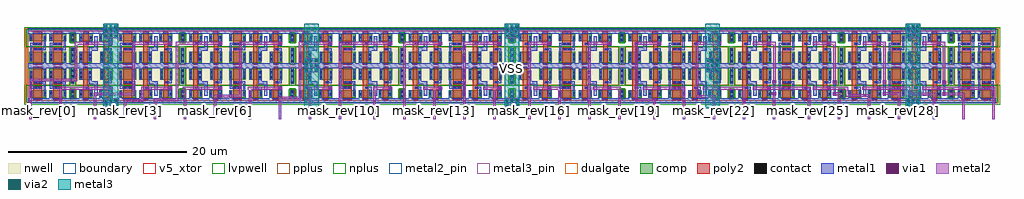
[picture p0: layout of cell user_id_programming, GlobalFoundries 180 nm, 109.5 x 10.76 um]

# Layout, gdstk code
import gdstk
lib = gdstk.Library(unit=1e-6, precision=1e-09)
def R(c, l, rs):  # rectangles x0, y0, x1, y1
    for r in rs: c.add(gdstk.rectangle(r[:2], r[2:], *l))
def A(c, l, x, y, w, h, nx, ny, dx, dy):  # array of equal rectangles
    R(c, l, [(x+i*dx, y+j*dy, x+i*dx+w, y+j*dy+h) for i in range(nx) for j in range(ny)])
def P(c, l, *ps):  # polygons
    for p in ps: c.add(gdstk.Polygon(p, *l))
boundary = (0, 0)
nwell = (21, 0)
comp = (22, 0)
poly2 = (30, 0)
pplus = (31, 0)
nplus = (32, 0)
contact = (33, 0)
metal1 = (34, 0)
via1 = (35, 0)
metal2 = (36, 0)
metal2_pin = (36, 10)
via2 = (38, 0)
metal3 = (42, 0)
metal3_pin = (42, 10)
dualgate = (55, 0)
v5_xtor = (112, 1)
lvpwell = (204, 0)

gf180mcu_fd_sc_mcu7t5v0_ = lib.new_cell('gf180mcu_fd_sc_mcu7t5v0__fillcap_4')
R(gf180mcu_fd_sc_mcu7t5v0_, boundary, [(0,0,2.24,3.92)])
R(gf180mcu_fd_sc_mcu7t5v0_, nwell, [(-0.43,1.76,2.67,4.35)])
R(gf180mcu_fd_sc_mcu7t5v0_, comp, [(0.18,0.34,2.06,1.16), (0.18,2.36,2.06,3.58)])
R(gf180mcu_fd_sc_mcu7t5v0_, poly2, [(0.62,0.12,1.62,1.62), (0.62,1.875,1.62,3.8)])
R(gf180mcu_fd_sc_mcu7t5v0_, pplus, [(-0.2,1.76,2.44,4.12)])
R(gf180mcu_fd_sc_mcu7t5v0_, nplus, [(-0.2,-0.2,2.44,1.76)])
R(gf180mcu_fd_sc_mcu7t5v0_, contact, [(0.25,0.735,0.47,0.955), (1.77,0.735,1.99,0.955), (0.765,1.33,0.985,1.55), (1.235,1.33,1.455,1.55), (0.805,1.965,1.025,2.185), (1.275,1.965,1.495,2.185), (0.25,2.59,0.47,2.81), (1.77,2.59,1.99,2.81), (0.25,3.06,0.47,3.28), (1.77,3.06,1.99,3.28)])
P(gf180mcu_fd_sc_mcu7t5v0_, metal1, [(0.245,1.325),(0.245,3.39),(0.475,3.39),(0.475,1.555),(1.52,1.555),(1.52,1.325)],
  [(1.765,0.53),(1.765,1.96),(0.73,1.96),(0.73,2.19),(1.995,2.19),(1.995,0.53)],
  [(0,-0.3),(0,0.3),(0.245,0.3),(0.245,1.095),(0.475,1.095),(0.475,0.3),(2.24,0.3),(2.24,-0.3)],
  [(1.765,2.49),(1.765,3.62),(0,3.62),(0,4.22),(2.24,4.22),(2.24,3.62),(1.995,3.62),(1.995,2.49)])
R(gf180mcu_fd_sc_mcu7t5v0_, dualgate, [(-0.28,-0.28,2.52,4.2)])
R(gf180mcu_fd_sc_mcu7t5v0_, v5_xtor, [(0,0,2.24,3.92)])
R(gf180mcu_fd_sc_mcu7t5v0_, lvpwell, [(-0.43,-0.43,2.67,1.76)])
gf180mcu_fd_sc_mcu7t5v0_.add(gdstk.Label('VDD', (1.12,3.91), layer=34, texttype=10))
gf180mcu_fd_sc_mcu7t5v0_.add(gdstk.Label('VSS', (1.12,-0.03), layer=34, texttype=10))
gf180mcu_fd_sc_mcu7t5v0_.add(gdstk.Label('& Vendor GLOBALFOUNDRIES', (0,2), layer=63, texttype=63))
gf180mcu_fd_sc_mcu7t5v0_.add(gdstk.Label('& Product GF018hv5v_mcu_sc7', (0,1.5), layer=63, texttype=63))
gf180mcu_fd_sc_mcu7t5v0_.add(gdstk.Label('& Version 2015q2v1', (0,1), layer=63, texttype=63))
gf180mcu_fd_sc_mcu7t5v0_.add(gdstk.Label('& Metric 1.00', (0,0.5), layer=63, texttype=63))

c_gf180mcu_fd_sc_mcu7t5v0_ = lib.new_cell('gf180mcu_fd_sc_mcu7t5v0__endcap')
R(c_gf180mcu_fd_sc_mcu7t5v0_, boundary, [(0,0,1.12,3.92)])
R(c_gf180mcu_fd_sc_mcu7t5v0_, nwell, [(-0.43,1.76,1.55,4.35)])
R(c_gf180mcu_fd_sc_mcu7t5v0_, comp, [(0.28,0.28,0.8,1.28), (0.36,1.92,0.72,3.56)])
R(c_gf180mcu_fd_sc_mcu7t5v0_, pplus, [(0.2,0.2,0.88,1.36)])
P(c_gf180mcu_fd_sc_mcu7t5v0_, pplus, [(-0.2,1.76),(-0.2,4.12),(1.32,4.12),(1.32,1.76),(0.88,1.76),(0.88,3.72),(0.2,3.72),(0.2,1.76)])
P(c_gf180mcu_fd_sc_mcu7t5v0_, nplus, [(-0.2,-0.2),(-0.2,1.76),(0.2,1.76),(0.2,3.72),(0.88,3.72),(0.88,1.36),(0.2,1.36),(0.2,0.2),(0.88,0.2),(0.88,3.72),(0.88,1.76),(1.32,1.76),(1.32,-0.2)])
A(c_gf180mcu_fd_sc_mcu7t5v0_, contact, 0.43, 1.99, 0.22, 0.22, 1, 3, 0, 0.64)
R(c_gf180mcu_fd_sc_mcu7t5v0_, contact, [(0.43,0.4,0.65,0.62), (0.43,0.905,0.65,1.125)])
P(c_gf180mcu_fd_sc_mcu7t5v0_, metal1, [(0,-0.3),(0,0.3),(0.37,0.3),(0.37,1.19),(0.71,1.19),(0.71,0.3),(1.12,0.3),(1.12,-0.3)],
  [(0.37,1.92),(0.37,3.62),(0,3.62),(0,4.22),(1.12,4.22),(1.12,3.62),(0.71,3.62),(0.71,1.92)])
R(c_gf180mcu_fd_sc_mcu7t5v0_, dualgate, [(-0.28,-0.28,1.4,4.2)])
R(c_gf180mcu_fd_sc_mcu7t5v0_, v5_xtor, [(0,0,1.12,3.92)])
R(c_gf180mcu_fd_sc_mcu7t5v0_, lvpwell, [(-0.43,-0.43,1.55,1.76)])
c_gf180mcu_fd_sc_mcu7t5v0_.add(gdstk.Label('VSS', (0.56,-0.01), layer=34, texttype=10))
c_gf180mcu_fd_sc_mcu7t5v0_.add(gdstk.Label('VDD', (0.56,3.935), layer=34, texttype=10))
c_gf180mcu_fd_sc_mcu7t5v0_.add(gdstk.Label('& Vendor GLOBALFOUNDRIES', (0,2), layer=63, texttype=63))
c_gf180mcu_fd_sc_mcu7t5v0_.add(gdstk.Label('& Product GF018hv5v_mcu_sc7', (0,1.5), layer=63, texttype=63))
c_gf180mcu_fd_sc_mcu7t5v0_.add(gdstk.Label('& Version 2015q2v1', (0,1), layer=63, texttype=63))
c_gf180mcu_fd_sc_mcu7t5v0_.add(gdstk.Label('& Metric 1.00', (0,0.5), layer=63, texttype=63))

c_gf180mcu_fd_sc_mcu7t5v0__ = lib.new_cell('gf180mcu_fd_sc_mcu7t5v0__tieh')
R(c_gf180mcu_fd_sc_mcu7t5v0__, boundary, [(0,0,2.24,3.92)])
R(c_gf180mcu_fd_sc_mcu7t5v0__, nwell, [(-0.43,1.76,2.67,4.35)])
R(c_gf180mcu_fd_sc_mcu7t5v0__, comp, [(0.185,0.34,1.665,1.16), (0.185,2.36,1.565,3.58)])
P(c_gf180mcu_fd_sc_mcu7t5v0__, poly2, [(0.625,0.12),(0.625,3.8),(1.125,3.8),(1.125,1.635),(1.225,1.635),(1.225,0.12)])
R(c_gf180mcu_fd_sc_mcu7t5v0__, pplus, [(-0.2,1.76,2.44,4.12)])
R(c_gf180mcu_fd_sc_mcu7t5v0__, nplus, [(-0.2,-0.2,2.44,1.76)])
R(c_gf180mcu_fd_sc_mcu7t5v0__, contact, [(0.255,0.635,0.475,0.855), (1.375,0.65,1.595,0.87), (0.935,1.345,1.155,1.565), (0.255,2.55,0.475,2.77), (1.275,2.55,1.495,2.77), (0.255,3.02,0.475,3.24), (1.275,3.02,1.495,3.24)])
R(c_gf180mcu_fd_sc_mcu7t5v0__, metal1, [(1.22,2.305,1.58,3.39)])
P(c_gf180mcu_fd_sc_mcu7t5v0__, metal1, [(1.37,0.53),(1.37,1.335),(0.875,1.335),(0.875,1.57),(1.6,1.57),(1.6,0.53)],
  [(0,-0.3),(0,0.3),(0.25,0.3),(0.25,1.16),(0.48,1.16),(0.48,0.3),(2.24,0.3),(2.24,-0.3)],
  [(0.25,2.36),(0.25,3.62),(0,3.62),(0,4.22),(2.24,4.22),(2.24,3.62),(0.48,3.62),(0.48,2.36)])
R(c_gf180mcu_fd_sc_mcu7t5v0__, dualgate, [(-0.28,-0.28,2.52,4.2)])
R(c_gf180mcu_fd_sc_mcu7t5v0__, v5_xtor, [(0,0,2.24,3.92)])
R(c_gf180mcu_fd_sc_mcu7t5v0__, lvpwell, [(-0.43,-0.43,2.67,1.76)])
c_gf180mcu_fd_sc_mcu7t5v0__.add(gdstk.Label('Z', (1.4,3.08), layer=34, texttype=10))
c_gf180mcu_fd_sc_mcu7t5v0__.add(gdstk.Label('VDD', (1.12,3.935), layer=34, texttype=10))
c_gf180mcu_fd_sc_mcu7t5v0__.add(gdstk.Label('VSS', (1.12,-0.03), layer=34, texttype=10))
c_gf180mcu_fd_sc_mcu7t5v0__.add(gdstk.Label('& Vendor GLOBALFOUNDRIES', (0,2), layer=63, texttype=63))
c_gf180mcu_fd_sc_mcu7t5v0__.add(gdstk.Label('& Product GF018hv5v_mcu_sc7', (0,1.5), layer=63, texttype=63))
c_gf180mcu_fd_sc_mcu7t5v0__.add(gdstk.Label('& Version 2015q2v1', (0,1), layer=63, texttype=63))
c_gf180mcu_fd_sc_mcu7t5v0__.add(gdstk.Label('& Metric 1.00', (0,0.5), layer=63, texttype=63))

c_gf180mcu_fd_sc_mcu7t5v0___ = lib.new_cell('gf180mcu_fd_sc_mcu7t5v0__tiel')
R(c_gf180mcu_fd_sc_mcu7t5v0___, boundary, [(0,0,2.24,3.92)])
R(c_gf180mcu_fd_sc_mcu7t5v0___, nwell, [(-0.43,1.76,2.67,4.35)])
R(c_gf180mcu_fd_sc_mcu7t5v0___, comp, [(0.18,0.34,1.66,1.16), (0.28,2.36,1.66,3.58)])
P(c_gf180mcu_fd_sc_mcu7t5v0___, poly2, [(0.62,0.12),(0.62,1.38),(0.72,1.38),(0.72,3.8),(1.22,3.8),(1.22,0.12)])
R(c_gf180mcu_fd_sc_mcu7t5v0___, pplus, [(-0.2,1.76,2.44,4.12)])
R(c_gf180mcu_fd_sc_mcu7t5v0___, nplus, [(-0.2,-0.2,2.44,1.76)])
R(c_gf180mcu_fd_sc_mcu7t5v0___, contact, [(0.25,0.65,0.47,0.87), (1.37,0.675,1.59,0.895), (0.93,1.955,1.15,2.175), (0.35,2.55,0.57,2.77), (1.37,2.55,1.59,2.77), (0.35,3.075,0.57,3.295), (1.37,3.075,1.59,3.295)])
R(c_gf180mcu_fd_sc_mcu7t5v0___, metal1, [(1.22,0.53,1.595,1.65)])
P(c_gf180mcu_fd_sc_mcu7t5v0___, metal1, [(0.87,1.95),(0.87,2.185),(1.365,2.185),(1.365,3.39),(1.595,3.39),(1.595,1.95)],
  [(0,-0.3),(0,0.3),(0.245,0.3),(0.245,1.16),(0.475,1.16),(0.475,0.3),(2.24,0.3),(2.24,-0.3)],
  [(0.345,2.345),(0.345,3.62),(0,3.62),(0,4.22),(2.24,4.22),(2.24,3.62),(0.575,3.62),(0.575,2.345)])
R(c_gf180mcu_fd_sc_mcu7t5v0___, dualgate, [(-0.28,-0.28,2.52,4.2)])
R(c_gf180mcu_fd_sc_mcu7t5v0___, v5_xtor, [(0,0,2.24,3.92)])
R(c_gf180mcu_fd_sc_mcu7t5v0___, lvpwell, [(-0.43,-0.43,2.67,1.76)])
c_gf180mcu_fd_sc_mcu7t5v0___.add(gdstk.Label('ZN', (1.4,0.84), layer=34, texttype=10))
c_gf180mcu_fd_sc_mcu7t5v0___.add(gdstk.Label('VDD', (1.12,3.915), layer=34, texttype=10))
c_gf180mcu_fd_sc_mcu7t5v0___.add(gdstk.Label('VSS', (1.12,-0.01), layer=34, texttype=10))
c_gf180mcu_fd_sc_mcu7t5v0___.add(gdstk.Label('& Vendor GLOBALFOUNDRIES', (0,2), layer=63, texttype=63))
c_gf180mcu_fd_sc_mcu7t5v0___.add(gdstk.Label('& Product GF018hv5v_mcu_sc7', (0,1.5), layer=63, texttype=63))
c_gf180mcu_fd_sc_mcu7t5v0___.add(gdstk.Label('& Version 2015q2v1', (0,1), layer=63, texttype=63))
c_gf180mcu_fd_sc_mcu7t5v0___.add(gdstk.Label('& Metric 1.00', (0,0.5), layer=63, texttype=63))

c_gf180mcu_fd_sc_mcu7t5v0____ = lib.new_cell('gf180mcu_fd_sc_mcu7t5v0__filltie')
R(c_gf180mcu_fd_sc_mcu7t5v0____, boundary, [(0,0,1.12,3.92)])
R(c_gf180mcu_fd_sc_mcu7t5v0____, nwell, [(-0.43,1.76,1.55,4.35)])
R(c_gf180mcu_fd_sc_mcu7t5v0____, comp, [(0.28,0.28,0.84,1.28), (0.36,1.92,0.76,3.56)])
R(c_gf180mcu_fd_sc_mcu7t5v0____, pplus, [(0.2,0.2,0.92,1.36)])
P(c_gf180mcu_fd_sc_mcu7t5v0____, pplus, [(-0.2,1.76),(-0.2,4.12),(1.32,4.12),(1.32,1.76),(0.92,1.76),(0.92,3.72),(0.2,3.72),(0.2,1.76)])
P(c_gf180mcu_fd_sc_mcu7t5v0____, nplus, [(-0.2,-0.2),(-0.2,1.76),(0.2,1.76),(0.2,3.72),(0.92,3.72),(0.92,1.36),(0.2,1.36),(0.2,0.2),(0.92,0.2),(0.92,3.72),(0.92,1.76),(1.32,1.76),(1.32,-0.2)])
A(c_gf180mcu_fd_sc_mcu7t5v0____, contact, 0.45, 1.99, 0.22, 0.22, 1, 3, 0, 0.64)
R(c_gf180mcu_fd_sc_mcu7t5v0____, contact, [(0.45,0.4,0.67,0.62), (0.45,0.905,0.67,1.125)])
P(c_gf180mcu_fd_sc_mcu7t5v0____, metal1, [(0,-0.3),(0,0.3),(0.39,0.3),(0.39,1.185),(0.73,1.185),(0.73,0.3),(1.12,0.3),(1.12,-0.3)],
  [(0.39,1.93),(0.39,3.62),(0,3.62),(0,4.22),(1.12,4.22),(1.12,3.62),(0.73,3.62),(0.73,1.93)])
R(c_gf180mcu_fd_sc_mcu7t5v0____, dualgate, [(-0.28,-0.28,1.4,4.2)])
R(c_gf180mcu_fd_sc_mcu7t5v0____, v5_xtor, [(0,0,1.12,3.92)])
R(c_gf180mcu_fd_sc_mcu7t5v0____, lvpwell, [(-0.43,-0.43,1.55,1.76)])
c_gf180mcu_fd_sc_mcu7t5v0____.add(gdstk.Label('VDD', (0.57,3.92), layer=34, texttype=10))
c_gf180mcu_fd_sc_mcu7t5v0____.add(gdstk.Label('VSS', (0.57,0), layer=34, texttype=10))
c_gf180mcu_fd_sc_mcu7t5v0____.add(gdstk.Label('& Vendor GLOBALFOUNDRIES', (0,2), layer=63, texttype=63))
c_gf180mcu_fd_sc_mcu7t5v0____.add(gdstk.Label('& Product GF018hv5v_mcu_sc7', (0,1.5), layer=63, texttype=63))
c_gf180mcu_fd_sc_mcu7t5v0____.add(gdstk.Label('& Version 2015q2v1', (0,1), layer=63, texttype=63))
c_gf180mcu_fd_sc_mcu7t5v0____.add(gdstk.Label('& Metric 1.00', (0,0.5), layer=63, texttype=63))

user_id_programming = lib.new_cell('user_id_programming')
A(user_id_programming, metal1, 8.57, 7.55, 1.465, 0.57, 3, 1, 45, 0)
R(user_id_programming, metal1, [(8.58,-0.3,10.045,0.3), (53.58,-0.285,55.02,0.285), (98.58,-0.285,100.02,0.285), (9.06,0.53,9.435,1.65), (15.78,0.53,16.155,1.65), (21.38,0.53,21.755,1.65), (28.1,0.53,28.475,1.65), (33.7,0.53,34.075,1.65), (40.42,0.53,40.795,1.65), (46.02,0.53,46.395,1.65), (52.74,0.53,53.115,1.65), (58.34,0.53,58.715,1.65), (65.06,0.53,65.435,1.65), (70.66,0.53,71.035,1.65), (77.38,0.53,77.755,1.65), (82.98,0.53,83.355,1.65), (89.7,0.53,90.075,1.65), (95.3,0.53,95.675,1.65), (102.02,0.53,102.395,1.65), (90.375,0.56,90.675,0.98), (102.655,0.56,102.955,0.98), (7.47,0.58,7.845,1.85), (14.19,0.58,14.565,1.85), (19.79,0.58,20.165,1.85), (26.51,0.58,26.885,1.85), (32.11,0.58,32.485,1.85), (38.83,0.58,39.205,1.85), (44.43,0.58,44.805,1.85), (51.15,0.58,51.525,1.85), (56.75,0.58,57.125,1.85), (63.47,0.58,63.845,1.85), (69.07,0.58,69.445,1.85), (75.79,0.58,76.165,1.85), (81.39,0.58,81.765,1.85), (88.11,0.58,88.485,1.85), (93.71,0.58,94.085,1.85), (100.43,0.58,100.805,1.85), (83.59,0.585,83.89,1.005), (95.95,0.585,96.25,1.005), (90.395,0.98,90.66,1.86), (102.68,0.98,102.945,1.86), (83.61,1.005,83.875,1.885), (95.97,1.005,96.235,1.885), (6.82,1.85,7.845,2.21), (13.54,1.85,14.565,2.21), (19.14,1.85,20.165,2.21), (25.86,1.85,26.885,2.21), (31.46,1.85,32.485,2.21), (38.18,1.85,39.205,2.21), (43.78,1.85,44.805,2.21), (50.5,1.85,51.525,2.21), (56.1,1.85,57.125,2.21), (62.82,1.85,63.845,2.21), (68.42,1.85,69.445,2.21), (75.14,1.85,76.165,2.21), (80.74,1.85,81.765,2.21), (87.46,1.85,88.485,2.21), (93.06,1.85,94.085,2.21), (99.78,1.85,100.805,2.21), (90.375,1.86,90.675,2.28), (102.655,1.86,102.955,2.28), (83.59,1.885,83.89,2.305), (95.95,1.885,96.25,2.305), (6.82,2.21,7.18,2.305), (13.54,2.21,13.9,2.305), (19.14,2.21,19.5,2.305), (25.86,2.21,26.22,2.305), (31.46,2.21,31.82,2.305), (38.18,2.21,38.54,2.305), (43.78,2.21,44.14,2.305), (50.5,2.21,50.86,2.305), (56.1,2.21,56.46,2.305), (62.82,2.21,63.18,2.305), (68.42,2.21,68.78,2.305), (75.14,2.21,75.5,2.305), (80.74,2.21,81.1,2.305), (87.46,2.21,87.82,2.305), (93.06,2.21,93.42,2.305), (99.78,2.21,100.14,2.305), (31.08,3.62,32.53,4.22), (76.08,3.62,77.53,4.22), (6.82,5.535,7.18,5.63), (13.54,5.535,13.9,5.63), (19.14,5.535,19.5,5.63), (25.86,5.535,26.22,5.63), (31.46,5.535,31.82,5.63), (38.18,5.535,38.54,5.63), (43.78,5.535,44.14,5.63), (50.5,5.535,50.86,5.63), (56.1,5.535,56.46,5.63), (62.82,5.535,63.18,5.63), (68.42,5.535,68.78,5.63), (75.14,5.535,75.5,5.63), (80.74,5.535,81.1,5.63), (87.46,5.535,87.82,5.63), (93.06,5.535,93.42,5.63), (99.78,5.535,100.14,5.63), (6.82,5.63,7.845,5.99), (13.54,5.63,14.565,5.99), (19.14,5.63,20.165,5.99), (25.86,5.63,26.885,5.99), (31.46,5.63,32.485,5.99), (38.18,5.63,39.205,5.99), (43.78,5.63,44.805,5.99), (50.5,5.63,51.525,5.99), (56.1,5.63,57.125,5.99), (62.82,5.63,63.845,5.99), (68.42,5.63,69.445,5.99), (75.14,5.63,76.165,5.99), (80.74,5.63,81.765,5.99), (87.46,5.63,88.485,5.99), (93.06,5.63,94.085,5.99), (99.78,5.63,100.805,5.99), (7.47,5.99,7.845,7.26), (14.19,5.99,14.565,7.26), (19.79,5.99,20.165,7.26), (26.51,5.99,26.885,7.26), (32.11,5.99,32.485,7.26), (38.83,5.99,39.205,7.26), (44.43,5.99,44.805,7.26), (51.15,5.99,51.525,7.26), (56.75,5.99,57.125,7.26), (63.47,5.99,63.845,7.26), (69.07,5.99,69.445,7.26), (75.79,5.99,76.165,7.26), (81.39,5.99,81.765,7.26), (88.11,5.99,88.485,7.26), (93.71,5.99,94.085,7.26), (100.43,5.99,100.805,7.26), (9.06,6.19,9.435,7.31), (15.78,6.19,16.155,7.31), (21.38,6.19,21.755,7.31), (28.1,6.19,28.475,7.31), (33.7,6.19,34.075,7.31), (40.42,6.19,40.795,7.31), (46.02,6.19,46.395,7.31), (52.74,6.19,53.115,7.31), (58.34,6.19,58.715,7.31), (65.06,6.19,65.435,7.31), (70.66,6.19,71.035,7.31), (77.38,6.19,77.755,7.31), (82.98,6.19,83.355,7.31), (89.7,6.19,90.075,7.31), (95.3,6.19,95.675,7.31), (102.02,6.19,102.395,7.31)])
A(user_id_programming, via1, 8.65, -0.13, 0.26, 0.26, 3, 2, 0.52, 7.835)
A(user_id_programming, via1, 53.65, -0.13, 0.26, 0.26, 3, 2, 0.52, 7.835)
A(user_id_programming, via1, 98.65, -0.13, 0.26, 0.26, 3, 2, 0.52, 7.835)
A(user_id_programming, via1, 31.155, 3.79, 0.26, 0.26, 3, 1, 0.52, 0)
A(user_id_programming, via1, 76.155, 3.79, 0.26, 0.26, 3, 1, 0.52, 0)
R(user_id_programming, via1, [(90.395,0.64,90.655,0.9), (102.675,0.64,102.935,0.9), (83.61,0.665,83.87,0.925), (95.97,0.665,96.23,0.925), (9.11,1.27,9.37,1.53), (15.83,1.27,16.09,1.53), (21.43,1.27,21.69,1.53), (28.15,1.27,28.41,1.53), (33.75,1.27,34.01,1.53), (40.47,1.27,40.73,1.53), (46.07,1.27,46.33,1.53), (52.79,1.27,53.05,1.53), (58.39,1.27,58.65,1.53), (65.11,1.27,65.37,1.53), (70.71,1.27,70.97,1.53), (77.43,1.27,77.69,1.53), (83.03,1.27,83.29,1.53), (89.75,1.27,90.01,1.53), (95.35,1.27,95.61,1.53), (102.07,1.27,102.33,1.53), (90.395,1.94,90.655,2.2), (102.675,1.94,102.935,2.2), (83.61,1.965,83.87,2.225), (95.97,1.965,96.23,2.225), (9.11,6.31,9.37,6.57), (15.83,6.31,16.09,6.57), (21.43,6.31,21.69,6.57), (28.15,6.31,28.41,6.57), (33.75,6.31,34.01,6.57), (40.47,6.31,40.73,6.57), (46.07,6.31,46.33,6.57), (52.79,6.31,53.05,6.57), (58.39,6.31,58.65,6.57), (65.11,6.31,65.37,6.57), (70.71,6.31,70.97,6.57), (77.43,6.31,77.69,6.57), (83.03,6.31,83.29,6.57), (89.75,6.31,90.01,6.57), (95.35,6.31,95.61,6.57), (102.07,6.31,102.33,6.57)])
A(user_id_programming, metal2, 38.78, -2.1, 0.28, 3.34, 3, 1, 6.72, 0)
A(user_id_programming, metal2, 8.515, -0.815, 1.585, 1.115, 3, 1, 45, 0)
A(user_id_programming, metal2, 8.515, 7.025, 1.59, 0.51, 3, 1, 45, 0)
R(user_id_programming, metal2, [(0.14,-2.1,0.42,2.16), (3.5,-2.1,3.78,1.24), (7.42,-2.1,7.7,0.61), (10.78,-2.1,11.06,-0.09), (14.14,-2.1,14.42,-0.04), (17.5,-2.1,17.78,1.24), (20.86,-2.1,21.14,0.39), (24.78,-2.1,25.06,1.24), (28.14,-2.1,28.42,0.165), (31.5,-2.1,31.78,1.24), (34.86,-2.1,35.14,6.28), (42.14,-2.1,42.42,6.28), (48.86,-2.1,49.14,6.28), (56.14,-2.1,56.42,0.115), (59.5,-2.1,59.78,1.24), (62.86,-2.1,63.14,-0.21), (66.22,-2.1,66.5,1.24), (70.14,-2.1,70.42,-0.085), (73.5,-2.1,73.78,1.24), (76.86,-2.1,77.14,0.325), (80.22,-2.1,80.5,1.24), (83.58,-2.1,83.86,0.635), (87.5,-2.1,87.78,-0.515), (90.86,-2.1,91.14,0.61), (94.22,-2.1,94.5,0.435), (97.58,-2.1,97.86,0.675), (101.5,-2.1,101.78,0.615), (104.86,-2.1,105.14,0.625), (108.22,-2.1,108.5,1.24), (87.475,-0.515,87.78,-0.04), (62.835,-0.21,63.14,0.075), (10.78,-0.09,13.025,0.19), (68.16,-0.085,70.42,0.195), (14.14,-0.04,16.88,0.24), (87.475,-0.04,87.755,1.24), (62.835,0.075,63.115,2.86), (56.115,0.115,56.42,0.395), (28.14,0.165,30.65,0.445), (12.745,0.19,13.025,1.24), (68.16,0.195,68.44,6.28), (16.6,0.24,16.88,6.28), (74.925,0.325,77.14,0.605), (20.86,0.39,24.015,0.67), (56.115,0.395,56.395,2.725), (91.755,0.435,94.5,0.715), (30.37,0.445,30.65,6.28), (74.925,0.605,75.205,6.28), (7.42,0.61,12.005,0.89), (90.315,0.61,91.14,0.93), (102.595,0.61,103.015,0.625), (98.715,0.615,101.78,0.895), (102.595,0.625,105.14,0.905), (95.89,0.63,96.31,0.675), (83.58,0.635,83.985,0.645), (83.475,0.645,83.985,0.955), (23.735,0.67,24.015,6.28), (95.89,0.675,97.86,0.955), (91.755,0.715,92.035,1.24), (11.725,0.89,12.005,6.28), (98.715,0.895,98.995,1.24), (102.595,0.905,103.015,0.93), (3.5,1.24,9.5,1.56), (12.745,1.24,16.22,1.56), (17.39,1.24,21.82,1.56), (24.67,1.24,28.54,1.56), (31.5,1.24,34.14,1.56), (38.78,1.24,40.86,1.56), (44.365,1.24,46.5,1.56), (51.085,1.24,53.175,1.56), (56.685,1.24,59.78,1.56), (63.405,1.24,66.5,1.56), (69.005,1.24,73.78,1.56), (75.725,1.24,80.5,1.56), (81.325,1.24,87.755,1.56), (88.045,1.24,92.035,1.56), (93.635,1.24,98.995,1.56), (100.365,1.24,108.5,1.56), (90.315,1.91,90.735,2.23), (102.595,1.91,103.015,2.23), (95.89,1.93,96.31,2.255), (83.52,1.935,83.985,2.255), (0.14,2.16,5.57,2.44), (90.385,2.23,90.665,6.28), (102.665,2.23,102.945,6.28), (83.61,2.255,83.89,6.28), (95.96,2.255,96.24,6.28), (5.29,2.44,5.57,6.28), (56.115,2.725,56.42,3.03), (62.835,2.86,63.14,3.16), (56.14,3.03,56.42,6.28), (62.86,3.16,63.14,6.28), (31.015,3.185,32.6,4.785), (76.015,3.185,77.6,4.785), (5.29,6.28,9.5,6.6), (11.725,6.28,16.22,6.6), (16.6,6.28,21.82,6.6), (23.735,6.28,28.54,6.6), (30.37,6.28,34.14,6.6), (34.86,6.28,40.86,6.6), (42.14,6.28,46.47,6.6), (48.86,6.28,53.17,6.6), (56.14,6.28,58.77,6.6), (62.86,6.28,65.49,6.6), (68.16,6.28,71.09,6.6), (74.925,6.28,77.8,6.6), (81.32,6.28,83.89,6.6), (88.045,6.28,90.665,6.6), (93.65,6.28,96.24,6.6), (100.365,6.28,102.945,6.6), (8.505,7.535,10.105,8.625), (53.505,7.535,55.105,8.14), (98.505,7.535,100.105,8.14), (53.515,8.14,55.105,8.625), (98.515,8.14,100.105,8.625)])
A(user_id_programming, metal2_pin, 7.42, -2.1, 0.28, 2.05, 5, 1, 3.36, 0)
A(user_id_programming, metal2_pin, 24.78, -2.1, 0.28, 2.05, 4, 1, 3.36, 0)
A(user_id_programming, metal2_pin, 38.78, -2.1, 0.28, 2.05, 5, 1, 3.36, 0)
A(user_id_programming, metal2_pin, 56.14, -2.1, 0.28, 2.05, 4, 1, 3.36, 0)
A(user_id_programming, metal2_pin, 70.14, -2.1, 0.28, 2.05, 5, 1, 3.36, 0)
A(user_id_programming, metal2_pin, 87.5, -2.1, 0.28, 2.05, 4, 1, 3.36, 0)
A(user_id_programming, metal2_pin, 101.5, -2.1, 0.28, 2.05, 3, 1, 3.36, 0)
R(user_id_programming, metal2_pin, [(0.14,-2.1,0.42,-0.05), (3.5,-2.1,3.78,-0.05)])
A(user_id_programming, via2, 8.665, -0.625, 0.26, 0.26, 3, 2, 0.52, 0.52)
A(user_id_programming, via2, 53.665, -0.625, 0.26, 0.26, 3, 2, 0.52, 0.52)
A(user_id_programming, via2, 98.665, -0.625, 0.26, 0.26, 3, 2, 0.52, 0.52)
A(user_id_programming, via2, 31.155, 3.335, 0.26, 0.26, 3, 3, 0.52, 0.52)
A(user_id_programming, via2, 76.155, 3.335, 0.26, 0.26, 3, 3, 0.52, 0.52)
A(user_id_programming, via2, 8.65, 7.17, 0.26, 0.26, 3, 3, 0.52, 0.52)
A(user_id_programming, via2, 53.65, 7.17, 0.26, 0.26, 3, 3, 0.52, 0.52)
A(user_id_programming, via2, 98.65, 7.17, 0.26, 0.26, 3, 3, 0.52, 0.52)
A(user_id_programming, metal3, 8.485, -0.84, 1.65, 9.5, 5, 1, 22.5, 0)
R(user_id_programming, metal3_pin, [(30.985,-0.84,32.635,0.81), (53.485,0.255,55.135,7.07)])
user_id_programming.add(gdstk.Reference(gf180mcu_fd_sc_mcu7t5v0_, (2.24,7.84), x_reflection=True))
user_id_programming.add(gdstk.Reference(gf180mcu_fd_sc_mcu7t5v0_, (2.24,0)))
user_id_programming.add(gdstk.Reference(gf180mcu_fd_sc_mcu7t5v0_, (0,7.84), x_reflection=True))
user_id_programming.add(gdstk.Reference(gf180mcu_fd_sc_mcu7t5v0_, (0,0)))
user_id_programming.add(gdstk.Reference(c_gf180mcu_fd_sc_mcu7t5v0_, (4.48,7.84), x_reflection=True))
user_id_programming.add(gdstk.Reference(c_gf180mcu_fd_sc_mcu7t5v0_, (4.48,0)))
user_id_programming.add(gdstk.Reference(c_gf180mcu_fd_sc_mcu7t5v0__, (5.6,7.84), x_reflection=True))
user_id_programming.add(gdstk.Reference(c_gf180mcu_fd_sc_mcu7t5v0__, (5.6,0)))
user_id_programming.add(gdstk.Reference(c_gf180mcu_fd_sc_mcu7t5v0___, (7.84,7.84), x_reflection=True))
user_id_programming.add(gdstk.Reference(c_gf180mcu_fd_sc_mcu7t5v0___, (7.84,0)))
user_id_programming.add(gdstk.Reference(gf180mcu_fd_sc_mcu7t5v0_, (10.08,7.84), x_reflection=True))
user_id_programming.add(gdstk.Reference(gf180mcu_fd_sc_mcu7t5v0_, (10.08,0)))
user_id_programming.add(gdstk.Reference(c_gf180mcu_fd_sc_mcu7t5v0__, (12.32,7.84), x_reflection=True))
user_id_programming.add(gdstk.Reference(c_gf180mcu_fd_sc_mcu7t5v0__, (12.32,0)))
user_id_programming.add(gdstk.Reference(c_gf180mcu_fd_sc_mcu7t5v0___, (14.56,7.84), x_reflection=True))
user_id_programming.add(gdstk.Reference(c_gf180mcu_fd_sc_mcu7t5v0___, (14.56,0)))
user_id_programming.add(gdstk.Reference(c_gf180mcu_fd_sc_mcu7t5v0__, (17.92,0)))
user_id_programming.add(gdstk.Reference(c_gf180mcu_fd_sc_mcu7t5v0__, (17.92,7.84), x_reflection=True))
user_id_programming.add(gdstk.Reference(c_gf180mcu_fd_sc_mcu7t5v0____, (16.8,0)))
user_id_programming.add(gdstk.Reference(c_gf180mcu_fd_sc_mcu7t5v0____, (16.8,7.84), x_reflection=True))
user_id_programming.add(gdstk.Reference(c_gf180mcu_fd_sc_mcu7t5v0___, (20.16,0)))
user_id_programming.add(gdstk.Reference(c_gf180mcu_fd_sc_mcu7t5v0___, (20.16,7.84), x_reflection=True))
user_id_programming.add(gdstk.Reference(gf180mcu_fd_sc_mcu7t5v0_, (22.4,0)))
user_id_programming.add(gdstk.Reference(gf180mcu_fd_sc_mcu7t5v0_, (22.4,7.84), x_reflection=True))
user_id_programming.add(gdstk.Reference(c_gf180mcu_fd_sc_mcu7t5v0__, (24.64,0)))
user_id_programming.add(gdstk.Reference(c_gf180mcu_fd_sc_mcu7t5v0__, (24.64,7.84), x_reflection=True))
user_id_programming.add(gdstk.Reference(c_gf180mcu_fd_sc_mcu7t5v0___, (26.88,0)))
user_id_programming.add(gdstk.Reference(c_gf180mcu_fd_sc_mcu7t5v0___, (26.88,7.84), x_reflection=True))
user_id_programming.add(gdstk.Reference(c_gf180mcu_fd_sc_mcu7t5v0__, (30.24,0)))
user_id_programming.add(gdstk.Reference(c_gf180mcu_fd_sc_mcu7t5v0__, (30.24,7.84), x_reflection=True))
user_id_programming.add(gdstk.Reference(c_gf180mcu_fd_sc_mcu7t5v0____, (29.12,0)))
user_id_programming.add(gdstk.Reference(c_gf180mcu_fd_sc_mcu7t5v0____, (29.12,7.84), x_reflection=True))
user_id_programming.add(gdstk.Reference(c_gf180mcu_fd_sc_mcu7t5v0___, (32.48,0)))
user_id_programming.add(gdstk.Reference(c_gf180mcu_fd_sc_mcu7t5v0___, (32.48,7.84), x_reflection=True))
user_id_programming.add(gdstk.Reference(gf180mcu_fd_sc_mcu7t5v0_, (34.72,0)))
user_id_programming.add(gdstk.Reference(gf180mcu_fd_sc_mcu7t5v0_, (34.72,7.84), x_reflection=True))
user_id_programming.add(gdstk.Reference(c_gf180mcu_fd_sc_mcu7t5v0__, (36.96,0)))
user_id_programming.add(gdstk.Reference(c_gf180mcu_fd_sc_mcu7t5v0__, (36.96,7.84), x_reflection=True))
user_id_programming.add(gdstk.Reference(c_gf180mcu_fd_sc_mcu7t5v0___, (39.2,0)))
user_id_programming.add(gdstk.Reference(c_gf180mcu_fd_sc_mcu7t5v0___, (39.2,7.84), x_reflection=True))
user_id_programming.add(gdstk.Reference(c_gf180mcu_fd_sc_mcu7t5v0__, (42.56,0)))
user_id_programming.add(gdstk.Reference(c_gf180mcu_fd_sc_mcu7t5v0__, (42.56,7.84), x_reflection=True))
user_id_programming.add(gdstk.Reference(c_gf180mcu_fd_sc_mcu7t5v0____, (41.44,0)))
user_id_programming.add(gdstk.Reference(c_gf180mcu_fd_sc_mcu7t5v0____, (41.44,7.84), x_reflection=True))
user_id_programming.add(gdstk.Reference(c_gf180mcu_fd_sc_mcu7t5v0___, (44.8,0)))
user_id_programming.add(gdstk.Reference(c_gf180mcu_fd_sc_mcu7t5v0___, (44.8,7.84), x_reflection=True))
user_id_programming.add(gdstk.Reference(gf180mcu_fd_sc_mcu7t5v0_, (47.04,0)))
user_id_programming.add(gdstk.Reference(gf180mcu_fd_sc_mcu7t5v0_, (47.04,7.84), x_reflection=True))
user_id_programming.add(gdstk.Reference(c_gf180mcu_fd_sc_mcu7t5v0__, (49.28,0)))
user_id_programming.add(gdstk.Reference(c_gf180mcu_fd_sc_mcu7t5v0__, (49.28,7.84), x_reflection=True))
user_id_programming.add(gdstk.Reference(c_gf180mcu_fd_sc_mcu7t5v0___, (51.52,0)))
user_id_programming.add(gdstk.Reference(c_gf180mcu_fd_sc_mcu7t5v0___, (51.52,7.84), x_reflection=True))
user_id_programming.add(gdstk.Reference(c_gf180mcu_fd_sc_mcu7t5v0__, (54.88,0)))
user_id_programming.add(gdstk.Reference(c_gf180mcu_fd_sc_mcu7t5v0__, (54.88,7.84), x_reflection=True))
user_id_programming.add(gdstk.Reference(c_gf180mcu_fd_sc_mcu7t5v0____, (53.76,0)))
user_id_programming.add(gdstk.Reference(c_gf180mcu_fd_sc_mcu7t5v0____, (53.76,7.84), x_reflection=True))
user_id_programming.add(gdstk.Reference(c_gf180mcu_fd_sc_mcu7t5v0___, (57.12,0)))
user_id_programming.add(gdstk.Reference(c_gf180mcu_fd_sc_mcu7t5v0___, (57.12,7.84), x_reflection=True))
user_id_programming.add(gdstk.Reference(gf180mcu_fd_sc_mcu7t5v0_, (59.36,0)))
user_id_programming.add(gdstk.Reference(gf180mcu_fd_sc_mcu7t5v0_, (59.36,7.84), x_reflection=True))
user_id_programming.add(gdstk.Reference(c_gf180mcu_fd_sc_mcu7t5v0__, (61.6,0)))
user_id_programming.add(gdstk.Reference(c_gf180mcu_fd_sc_mcu7t5v0__, (61.6,7.84), x_reflection=True))
user_id_programming.add(gdstk.Reference(c_gf180mcu_fd_sc_mcu7t5v0___, (63.84,0)))
user_id_programming.add(gdstk.Reference(c_gf180mcu_fd_sc_mcu7t5v0___, (63.84,7.84), x_reflection=True))
user_id_programming.add(gdstk.Reference(c_gf180mcu_fd_sc_mcu7t5v0__, (67.2,0)))
user_id_programming.add(gdstk.Reference(c_gf180mcu_fd_sc_mcu7t5v0__, (67.2,7.84), x_reflection=True))
user_id_programming.add(gdstk.Reference(c_gf180mcu_fd_sc_mcu7t5v0____, (66.08,0)))
user_id_programming.add(gdstk.Reference(c_gf180mcu_fd_sc_mcu7t5v0____, (66.08,7.84), x_reflection=True))
user_id_programming.add(gdstk.Reference(c_gf180mcu_fd_sc_mcu7t5v0___, (69.44,0)))
user_id_programming.add(gdstk.Reference(c_gf180mcu_fd_sc_mcu7t5v0___, (69.44,7.84), x_reflection=True))
user_id_programming.add(gdstk.Reference(gf180mcu_fd_sc_mcu7t5v0_, (71.68,0)))
user_id_programming.add(gdstk.Reference(gf180mcu_fd_sc_mcu7t5v0_, (71.68,7.84), x_reflection=True))
user_id_programming.add(gdstk.Reference(c_gf180mcu_fd_sc_mcu7t5v0__, (73.92,0)))
user_id_programming.add(gdstk.Reference(c_gf180mcu_fd_sc_mcu7t5v0__, (73.92,7.84), x_reflection=True))
user_id_programming.add(gdstk.Reference(c_gf180mcu_fd_sc_mcu7t5v0___, (76.16,0)))
user_id_programming.add(gdstk.Reference(c_gf180mcu_fd_sc_mcu7t5v0___, (76.16,7.84), x_reflection=True))
user_id_programming.add(gdstk.Reference(c_gf180mcu_fd_sc_mcu7t5v0__, (79.52,0)))
user_id_programming.add(gdstk.Reference(c_gf180mcu_fd_sc_mcu7t5v0__, (79.52,7.84), x_reflection=True))
user_id_programming.add(gdstk.Reference(c_gf180mcu_fd_sc_mcu7t5v0____, (78.4,0)))
user_id_programming.add(gdstk.Reference(c_gf180mcu_fd_sc_mcu7t5v0____, (78.4,7.84), x_reflection=True))
user_id_programming.add(gdstk.Reference(c_gf180mcu_fd_sc_mcu7t5v0___, (81.76,0)))
user_id_programming.add(gdstk.Reference(c_gf180mcu_fd_sc_mcu7t5v0___, (81.76,7.84), x_reflection=True))
user_id_programming.add(gdstk.Reference(gf180mcu_fd_sc_mcu7t5v0_, (84,0)))
user_id_programming.add(gdstk.Reference(gf180mcu_fd_sc_mcu7t5v0_, (84,7.84), x_reflection=True))
user_id_programming.add(gdstk.Reference(c_gf180mcu_fd_sc_mcu7t5v0__, (86.24,0)))
user_id_programming.add(gdstk.Reference(c_gf180mcu_fd_sc_mcu7t5v0__, (86.24,7.84), x_reflection=True))
user_id_programming.add(gdstk.Reference(c_gf180mcu_fd_sc_mcu7t5v0___, (88.48,0)))
user_id_programming.add(gdstk.Reference(c_gf180mcu_fd_sc_mcu7t5v0___, (88.48,7.84), x_reflection=True))
user_id_programming.add(gdstk.Reference(c_gf180mcu_fd_sc_mcu7t5v0__, (91.84,0)))
user_id_programming.add(gdstk.Reference(c_gf180mcu_fd_sc_mcu7t5v0__, (91.84,7.84), x_reflection=True))
user_id_programming.add(gdstk.Reference(c_gf180mcu_fd_sc_mcu7t5v0____, (90.72,0)))
user_id_programming.add(gdstk.Reference(c_gf180mcu_fd_sc_mcu7t5v0____, (90.72,7.84), x_reflection=True))
user_id_programming.add(gdstk.Reference(c_gf180mcu_fd_sc_mcu7t5v0___, (94.08,0)))
user_id_programming.add(gdstk.Reference(c_gf180mcu_fd_sc_mcu7t5v0___, (94.08,7.84), x_reflection=True))
user_id_programming.add(gdstk.Reference(gf180mcu_fd_sc_mcu7t5v0_, (96.32,0)))
user_id_programming.add(gdstk.Reference(gf180mcu_fd_sc_mcu7t5v0_, (96.32,7.84), x_reflection=True))
user_id_programming.add(gdstk.Reference(c_gf180mcu_fd_sc_mcu7t5v0__, (98.56,0)))
user_id_programming.add(gdstk.Reference(c_gf180mcu_fd_sc_mcu7t5v0__, (98.56,7.84), x_reflection=True))
user_id_programming.add(gdstk.Reference(c_gf180mcu_fd_sc_mcu7t5v0___, (100.8,0)))
user_id_programming.add(gdstk.Reference(c_gf180mcu_fd_sc_mcu7t5v0___, (100.8,7.84), x_reflection=True))
user_id_programming.add(gdstk.Reference(gf180mcu_fd_sc_mcu7t5v0_, (104.16,7.84), x_reflection=True))
user_id_programming.add(gdstk.Reference(gf180mcu_fd_sc_mcu7t5v0_, (104.16,0)))
user_id_programming.add(gdstk.Reference(c_gf180mcu_fd_sc_mcu7t5v0_, (103.04,7.84), x_reflection=True))
user_id_programming.add(gdstk.Reference(c_gf180mcu_fd_sc_mcu7t5v0_, (103.04,0)))
user_id_programming.add(gdstk.Reference(gf180mcu_fd_sc_mcu7t5v0_, (106.4,7.84), x_reflection=True))
user_id_programming.add(gdstk.Reference(gf180mcu_fd_sc_mcu7t5v0_, (106.4,0)))
user_id_programming.add(gdstk.Label('mask_rev[0]', (0.28,-1.075), layer=36, texttype=10))
user_id_programming.add(gdstk.Label('mask_rev[10]', (35,-1.075), layer=36, texttype=10))
user_id_programming.add(gdstk.Label('mask_rev[11]', (38.92,-1.075), layer=36, texttype=10))
user_id_programming.add(gdstk.Label('mask_rev[12]', (42.28,-1.075), layer=36, texttype=10))
user_id_programming.add(gdstk.Label('mask_rev[13]', (45.64,-1.075), layer=36, texttype=10))
user_id_programming.add(gdstk.Label('mask_rev[14]', (49,-1.075), layer=36, texttype=10))
user_id_programming.add(gdstk.Label('mask_rev[15]', (52.36,-1.075), layer=36, texttype=10))
user_id_programming.add(gdstk.Label('mask_rev[16]', (56.28,-1.075), layer=36, texttype=10))
user_id_programming.add(gdstk.Label('mask_rev[17]', (59.64,-1.075), layer=36, texttype=10))
user_id_programming.add(gdstk.Label('mask_rev[18]', (63,-1.075), layer=36, texttype=10))
user_id_programming.add(gdstk.Label('mask_rev[19]', (66.36,-1.075), layer=36, texttype=10))
user_id_programming.add(gdstk.Label('mask_rev[1]', (3.64,-1.075), layer=36, texttype=10))
user_id_programming.add(gdstk.Label('mask_rev[20]', (70.28,-1.075), layer=36, texttype=10))
user_id_programming.add(gdstk.Label('mask_rev[21]', (73.64,-1.075), layer=36, texttype=10))
user_id_programming.add(gdstk.Label('mask_rev[22]', (77,-1.075), layer=36, texttype=10))
user_id_programming.add(gdstk.Label('mask_rev[23]', (80.36,-1.075), layer=36, texttype=10))
user_id_programming.add(gdstk.Label('mask_rev[24]', (83.72,-1.075), layer=36, texttype=10))
user_id_programming.add(gdstk.Label('mask_rev[25]', (87.64,-1.075), layer=36, texttype=10))
user_id_programming.add(gdstk.Label('mask_rev[26]', (91,-1.075), layer=36, texttype=10))
user_id_programming.add(gdstk.Label('mask_rev[27]', (94.36,-1.075), layer=36, texttype=10))
user_id_programming.add(gdstk.Label('mask_rev[28]', (97.72,-1.075), layer=36, texttype=10))
user_id_programming.add(gdstk.Label('mask_rev[29]', (101.64,-1.075), layer=36, texttype=10))
user_id_programming.add(gdstk.Label('mask_rev[2]', (7.56,-1.075), layer=36, texttype=10))
user_id_programming.add(gdstk.Label('mask_rev[30]', (105,-1.075), layer=36, texttype=10))
user_id_programming.add(gdstk.Label('mask_rev[31]', (108.36,-1.075), layer=36, texttype=10))
user_id_programming.add(gdstk.Label('mask_rev[3]', (10.92,-1.075), layer=36, texttype=10))
user_id_programming.add(gdstk.Label('mask_rev[4]', (14.28,-1.075), layer=36, texttype=10))
user_id_programming.add(gdstk.Label('mask_rev[5]', (17.64,-1.075), layer=36, texttype=10))
user_id_programming.add(gdstk.Label('mask_rev[6]', (21,-1.075), layer=36, texttype=10))
user_id_programming.add(gdstk.Label('mask_rev[7]', (24.92,-1.075), layer=36, texttype=10))
user_id_programming.add(gdstk.Label('mask_rev[8]', (28.28,-1.075), layer=36, texttype=10))
user_id_programming.add(gdstk.Label('mask_rev[9]', (31.64,-1.075), layer=36, texttype=10))
user_id_programming.add(gdstk.Label('VDD', (31.81,-0.015), layer=42, texttype=10))
user_id_programming.add(gdstk.Label('VSS', (54.31,3.662), layer=42, texttype=10))

lib.write_gds('user_id_programming.gds')
